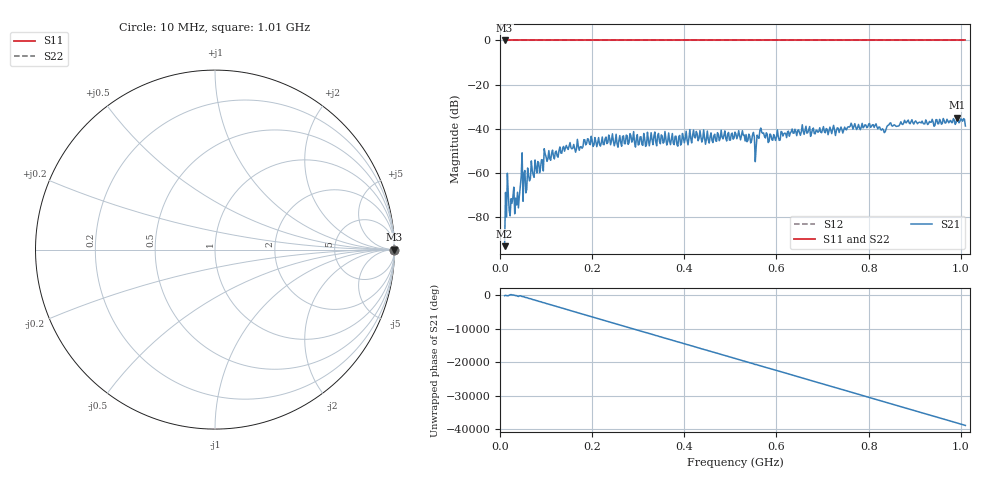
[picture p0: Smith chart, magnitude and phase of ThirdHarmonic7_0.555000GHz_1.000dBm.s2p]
! 8/17/2025 4:53:36 PM
! C:\ANRITSUVNA\TEMP\TEMP.S2P
! CHANNEL.1
! TR.MEASUREMENT
! RAW.DATA
! RF.CORRECTION.OFF
! AVERAGING.OFF
! IF.BANDWIDTH: 5KHZ
! SWEEPTYPE:  FREQ.SWEEP(Linear)
! Reference Plane Port Info
! PORT:  PORT1  PORT2
! DISTANCE:  0  m  0  m
! TIME:  0  s  0  s
! PHASE.OFFSET:  0  deg.  0  deg.
! LOSS:  0  dB  0  dB
! REF.LOSS:  0  dB  0  dB
! REF.FREQ:  0  Hz  0  Hz
! Power Info
! POWER:  -20  dBm  -20  dBm
! EFF.POWER:  -20  dBm  -20  dBm
! SOURCE.ATTEN:  0  dB  0  dB
! TEST.ATTEN:  0  dB  0  dB
# GHZ S RI R 50.0
! FREQ.GHZ  S11RE  S11IM  S21RE  S21IM  S12RE  S12IM  S22RE  S22IM
!; PortSelection: Port_12
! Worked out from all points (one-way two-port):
!   501 points, 10 MHz to 1.01 GHz, reference 50 ohm
!   highest |S21| = -34.87 dB at 992 MHz (marker M1); lowest = -93.1 dB at 10 MHz (marker M2)
!   lowest |S11| = 0.0 dB at 10 MHz (marker M3)
!   |S11| at or under -10 dB: nowhere
!   |S22| runs from 0.0 to 0.0 dB; largest |S21 - S12| = 1
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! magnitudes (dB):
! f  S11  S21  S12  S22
! 10 MHz  0.0  -93.1  0.0  0.0
! 16 MHz  0.0  -60.1  0.0  0.0
! 22 MHz  0.0  -79.4  0.0  0.0
! 36 MHz  0.0  -74.4  0.0  0.0
! 50 MHz  0.0  -72.8  0.0  0.0
! 54 MHz  0.0  -58.9  0.0  0.0
! 64 MHz  0.0  -63.5  0.0  0.0
! 90 MHz  0.0  -54.0  0.0  0.0
! 100 MHz  0.0  -52.6  0.0  0.0
! 178 MHz  0.0  -48.8  0.0  0.0
! 286 MHz  0.0  -46.0  0.0  0.0
! 344 MHz  0.0  -42.1  0.0  0.0
! 510 MHz  0.0  -41.5  0.0  0.0
! 558 MHz  0.0  -42.9  0.0  0.0
! 568 MHz  0.0  -41.5  0.0  0.0
! 586 MHz  0.0  -42.3  0.0  0.0
! 678 MHz  0.0  -40.4  0.0  0.0
! 766 MHz  0.0  -40.1  0.0  0.0
! 832 MHz  0.0  -40.5  0.0  0.0
! 844 MHz  0.0  -38.2  0.0  0.0
! 992 MHz  0.0  -34.9  0.0  0.0
! 1.01 GHz  0.0  -38.7  0.0  0.0
